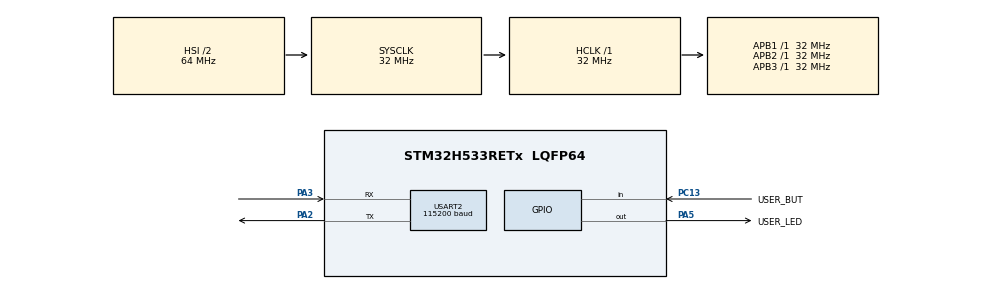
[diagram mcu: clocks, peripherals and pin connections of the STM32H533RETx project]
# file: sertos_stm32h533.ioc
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BOOTPATH.BootPathName=LEGACY
BOOTPATH.UserSelectedBootPath=LEGACY
CORTEX_M33_NS.AccessPermission-Cortex_Memory_Protection_Unit_Region0_Settings=MPU_REGION_PRIV_RO
CORTEX_M33_NS.AllocateAttribute0=MPU_R_ALLOCATE
CORTEX_M33_NS.AllocateAttribute1=MPU_RW_ALLOCATE
CORTEX_M33_NS.Attributes0=MPU_ATTRIBUTES_NUMBER0
CORTEX_M33_NS.Attributes1=MPU_ATTRIBUTES_NUMBER1
CORTEX_M33_NS.Attributes2=__NULL
CORTEX_M33_NS.Attributes3=__NULL
CORTEX_M33_NS.Attributes4=__NULL
CORTEX_M33_NS.Attributes5=__NULL
CORTEX_M33_NS.Attributes6=__NULL
CORTEX_M33_NS.Attributes7=__NULL
CORTEX_M33_NS.AttributesIndex-Cortex_Memory_Protection_Unit_Region0_Settings=MPU_ATTRIBUTES_NUMBER0
CORTEX_M33_NS.AttributesIndex-Cortex_Memory_Protection_Unit_Region1_Settings=MPU_ATTRIBUTES_NUMBER1
CORTEX_M33_NS.BaseAddress-Cortex_Memory_Protection_Unit_Region0_Settings=0x08000000
CORTEX_M33_NS.BaseAddress-Cortex_Memory_Protection_Unit_Region1_Settings=0x20000000
CORTEX_M33_NS.CacheableAttribute0=MPU_WRITE_THROUGH
CORTEX_M33_NS.CacheableAttribute1=MPU_WRITE_BACK
CORTEX_M33_NS.Enable-Cortex_Memory_Protection_Unit_Region0_Settings=MPU_REGION_ENABLE
CORTEX_M33_NS.Enable-Cortex_Memory_Protection_Unit_Region1_Settings=MPU_REGION_ENABLE
CORTEX_M33_NS.LimitAddress-Cortex_Memory_Protection_Unit_Region0_Settings=0x0807FFFF
CORTEX_M33_NS.LimitAddress-Cortex_Memory_Protection_Unit_Region1_Settings=0x20043FFF
CORTEX_M33_NS.Memorytype0=MPU_CACHEABLE
CORTEX_M33_NS.Memorytype1=MPU_CACHEABLE
CORTEX_M33_NS.Number-Cortex_Memory_Protection_Unit_Region1_Settings=MPU_REGION_NUMBER1
CORTEX_M33_NS.TransientAttribute0=MPU_TRANSIENT
CORTEX_M33_NS.TransientAttribute1=MPU_TRANSIENT
CORTEX_M33_NS.userName=CORTEX_M33
GPDMA1.DESTINC_GPDMACH0=DMA_DINC_INCREMENTED
GPDMA1.DIRECTION_GPDMACH1=DMA_MEMORY_TO_PERIPH
GPDMA1.IPHANDLE_GPDMACH0-SIMPLEREQUEST_GPDMACH0=__NULL
GPDMA1.IPHANDLE_GPDMACH1-SIMPLEREQUEST_GPDMACH1=__NULL
GPDMA1.REQUEST_GPDMACH0=GPDMA1_REQUEST_USART2_RX
GPDMA1.REQUEST_GPDMACH1=GPDMA1_REQUEST_USART2_TX
GPDMA1.SRCINC_GPDMACH1=DMA_SINC_INCREMENTED
Mcu.Family=STM32H5
Mcu.Name=STM32H533RETx
Mcu.Package=LQFP64
NVIC.GPDMA1_Channel0_IRQn=true\:0\:0\:false\:false\:true\:false\:true\:true
NVIC.GPDMA1_Channel1_IRQn=true\:0\:0\:false\:false\:true\:false\:true\:true
NVIC.PriorityGroup=NVIC_PRIORITYGROUP_4
NVIC.TIM6_IRQn=true\:0\:0\:true\:false\:true\:false\:true\:true
NVIC.TimeBase=TIM6_IRQn
NVIC.TimeBaseIP=TIM6
NVIC.USART2_IRQn=true\:0\:0\:false\:false\:true\:true\:true\:true
PA2.Mode=Asynchronous
PA2.Signal=USART2_TX
PA3.Mode=Asynchronous
PA3.Signal=USART2_RX
PA5.GPIO_Label=USER_LED
PA5.Signal=GPIO_Output
PC13.GPIO_Label=USER_BUT
PC13.Signal=GPIO_Input
ProjectManager.HeapSize=0x200
ProjectManager.StackSize=0x400
ProjectManager.TargetToolchain=CMake
RCC.ADCFreq_Value=32000000
RCC.AHBFreq_Value=32000000
RCC.APB1Freq_Value=32000000
RCC.APB1TimFreq_Value=32000000
RCC.APB2Freq_Value=32000000
RCC.APB2TimFreq_Value=32000000
RCC.APB3Freq_Value=32000000
RCC.CSI_VALUE=4000000
RCC.CortexFreq_Value=32000000
RCC.EPOD_VALUE=4000000
RCC.HCLKFreq_Value=32000000
RCC.HSE_VALUE=25000000
RCC.HSI48_VALUE=48000000
RCC.HSI_VALUE=64000000
RCC.LSE_VALUE=32768
RCC.LSIRC_VALUE=32000
RCC.SYSCLKFreq_VALUE=32000000
RCC.USBFreq_Value=48000000
RCC.VCOOutputFreq_Value=516000000
USART2.BaudRate=115200
USART2.Parity=PARITY_NONE
USART2.VirtualMode-Asynchronous=VM_ASYNC
VP_BOOTPATH_VS_BOOTPATH.Mode=BP_Activate
VP_CORTEX_M33_NS_VS_Hclk.Mode=Hclk_Mode
VP_GPDMA1_VS_GPDMACH0.Mode=SIMPLEREQUEST_GPDMACH0
VP_GPDMA1_VS_GPDMACH1.Mode=SIMPLEREQUEST_GPDMACH1
VP_MEMORYMAP_VS_MEMORYMAP.Mode=CurAppReg
VP_PWR_VS_LPOM.Mode=PowerOptimisation
VP_PWR_VS_SECSignals.Mode=Security/Privilege
VP_SYS_VS_tim6.Mode=TIM6
board=custom

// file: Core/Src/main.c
/* USER CODE BEGIN Header */
/**
  ******************************************************************************
  * @file           : main.c
  * @brief          : Main program body
  ******************************************************************************
  * @attention
  *
  * Copyright (c) 2026 STMicroelectronics.
  * All rights reserved.
  *
  * This software is licensed under terms that can be found in the LICENSE file
  * in the root directory of this software component.
  * If no LICENSE file comes with this software, it is provided AS-IS.
  *
  ******************************************************************************
  */
/* USER CODE END Header */
#include "main.h"
#include "gpdma.h"
#include "usart.h"
#include "gpio.h"

/* USER CODE BEGIN Includes */
#include <stdint.h>

#include "sertos.h"
#include "sertos_demo_queue.h"
#include "sertos_task_consumer.h"
#include "sertos_task_profiler.h"
#include "sertos_task_producer.h"
/* USER CODE END Includes */

/* USER CODE BEGIN PD */
#define SERTOS_DEMO_STACK_BYTES (256U)
#define SERTOS_PROF_STACK_BYTES (2048U)
/* USER CODE END PD */

/* USER CODE BEGIN PV */
static uint8_t s_producer_stack[SERTOS_DEMO_STACK_BYTES]
    __attribute__((aligned(SERTOS_STACK_ALIGNMENT_BYTES)));
static uint8_t s_consumer_stack[SERTOS_DEMO_STACK_BYTES]
    __attribute__((aligned(SERTOS_STACK_ALIGNMENT_BYTES)));
static uint8_t s_profiler_stack[SERTOS_PROF_STACK_BYTES]
    __attribute__((aligned(SERTOS_STACK_ALIGNMENT_BYTES)));
static uint8_t s_idle_task_stack[SERTOS_CONFIG_IDLE_TASK_STACK_SIZE]
    __attribute__((aligned(SERTOS_STACK_ALIGNMENT_BYTES)));
static SertosTaskControlBlock s_producer_tcb;
static SertosTaskControlBlock s_consumer_tcb;
static SertosTaskControlBlock s_profiler_tcb;
static SertosTaskHandle s_producer_handle;
static SertosTaskHandle s_consumer_handle;
static SertosTaskHandle s_profiler_handle;
static SertosDemoQueue* s_demo_queue;
/* USER CODE END PV */

void SystemClock_Config(void);

int main(void)
{

  /* MCU Configuration--------------------------------------------------------*/

  /* Reset of all peripherals, Initializes the Flash interface and the Systick. */
  HAL_Init();

  /* Configure the system clock */
  SystemClock_Config();

  /* Initialize all configured peripherals */
  MX_GPIO_Init();
  MX_GPDMA1_Init();
  MX_USART2_UART_Init();
  /* USER CODE BEGIN 2 */
    SertosStatus status;
    SertosTaskConfig producer_config;
    SertosTaskConfig consumer_config;
    SertosTaskConfig profiler_config;

    SertosConfig sertos_cfg = {
        .tick_rate_hz = 1000U,
        .enable_time_slicing = true,
        .idle_task_stack = s_idle_task_stack,
        .idle_task_stack_size = sizeof(s_idle_task_stack),
        .tick_hook = NULL,
        .idle_hook = NULL
    };

    sertos_task_profiler_init();

    status = sertos_scheduler_init_with_config(&sertos_cfg);
    if (status != SERTOS_STATUS_OK) {
        Error_Handler();
        return 0;
    }

    status = sertos_demo_queue_init(&s_demo_queue);
    if (status != SERTOS_STATUS_OK) {
        Error_Handler();
        return 0;
    }

    producer_config.name = "sertos_task_producer";
    producer_config.entry_func = sertos_task_producer;
    producer_config.param = s_demo_queue;
    producer_config.priority = 3U;
    producer_config.stack_buffer = s_producer_stack;
    producer_config.stack_size = sizeof(s_producer_stack);

    status = sertos_task_create_static(&producer_config,
                                       &s_producer_tcb,
                                       &s_producer_handle);
    if (status != SERTOS_STATUS_OK) {
        Error_Handler();
        return 0;
    }

    consumer_config.name = "sertos_task_consumer";
    consumer_config.entry_func = sertos_task_consumer;
    consumer_config.param = s_demo_queue;
    consumer_config.priority = 2U;
    consumer_config.stack_buffer = s_consumer_stack;
    consumer_config.stack_size = sizeof(s_consumer_stack);

    status = sertos_task_create_static(&consumer_config,
                                       &s_consumer_tcb,
                                       &s_consumer_handle);
    if (status != SERTOS_STATUS_OK) {
        Error_Handler();
        return 0;
    }

    profiler_config.name = "sertos_task_profiler";
    profiler_config.entry_func = sertos_task_profiler;
    profiler_config.param = NULL;
    profiler_config.priority = 1U;
    profiler_config.stack_buffer = s_profiler_stack;
    profiler_config.stack_size = sizeof(s_profiler_stack);

    status = sertos_task_create_static(&profiler_config,
                                       &s_profiler_tcb,
                                       &s_profiler_handle);
    if (status != SERTOS_STATUS_OK) {
        Error_Handler();
        return 0;
    }

    sertos_scheduler_start();
  /* USER CODE END 2 */

  /* Infinite loop */
  while (1)
  {

  }
}

void SystemClock_Config(void)
{
  RCC_OscInitTypeDef RCC_OscInitStruct = {0};
  RCC_ClkInitTypeDef RCC_ClkInitStruct = {0};

  /** Configure the main internal regulator output voltage
  */
  __HAL_PWR_VOLTAGESCALING_CONFIG(PWR_REGULATOR_VOLTAGE_SCALE3);

  while(!__HAL_PWR_GET_FLAG(PWR_FLAG_VOSRDY)) {}

  /** Initializes the RCC Oscillators according to the specified parameters
  * in the RCC_OscInitTypeDef structure.
  */
  RCC_OscInitStruct.OscillatorType = RCC_OSCILLATORTYPE_HSI;
  RCC_OscInitStruct.HSIState = RCC_HSI_ON;
  RCC_OscInitStruct.HSIDiv = RCC_HSI_DIV2;
  RCC_OscInitStruct.HSICalibrationValue = RCC_HSICALIBRATION_DEFAULT;
  RCC_OscInitStruct.PLL.PLLState = RCC_PLL_NONE;
  if (HAL_RCC_OscConfig(&RCC_OscInitStruct) != HAL_OK)
  {
    Error_Handler();
  }

  /** Initializes the CPU, AHB and APB buses clocks
  */
  RCC_ClkInitStruct.ClockType = RCC_CLOCKTYPE_HCLK|RCC_CLOCKTYPE_SYSCLK
                              |RCC_CLOCKTYPE_PCLK1|RCC_CLOCKTYPE_PCLK2
                              |RCC_CLOCKTYPE_PCLK3;
  RCC_ClkInitStruct.SYSCLKSource = RCC_SYSCLKSOURCE_HSI;
  RCC_ClkInitStruct.AHBCLKDivider = RCC_SYSCLK_DIV1;
  RCC_ClkInitStruct.APB1CLKDivider = RCC_HCLK_DIV1;
  RCC_ClkInitStruct.APB2CLKDivider = RCC_HCLK_DIV1;
  RCC_ClkInitStruct.APB3CLKDivider = RCC_HCLK_DIV1;

  if (HAL_RCC_ClockConfig(&RCC_ClkInitStruct, FLASH_LATENCY_1) != HAL_OK)
  {
    Error_Handler();
  }

  /** Configure the programming delay
  */
  __HAL_FLASH_SET_PROGRAM_DELAY(FLASH_PROGRAMMING_DELAY_0);
}

void HAL_TIM_PeriodElapsedCallback(TIM_HandleTypeDef *htim)
{
  if (htim->Instance == TIM6)
  {
    HAL_IncTick();
  }
}

void Error_Handler(void)
{
  __disable_irq();
  while (1)
  {
  }
}
